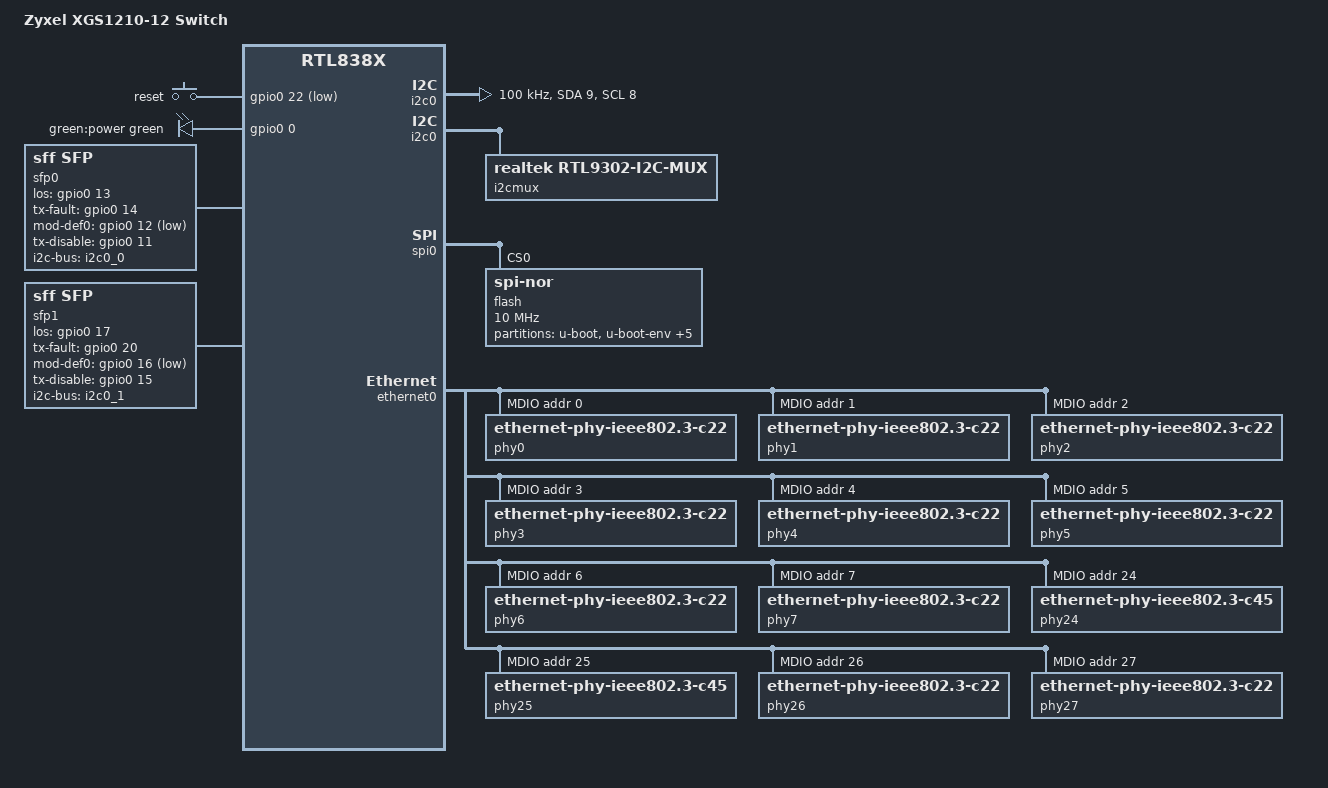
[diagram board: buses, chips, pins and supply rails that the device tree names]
// SPDX-License-Identifier: GPL-2.0-or-later
/dts-v1/;

#include "rtl930x.dtsi"

#include <dt-bindings/input/input.h>
#include <dt-bindings/gpio/gpio.h>
#include <dt-bindings/leds/common.h>
#include <dt-bindings/thermal/thermal.h>

/ {
	compatible = "zyxel,xgs1210-12", "realtek,rtl838x-soc";
	model = "Zyxel XGS1210-12 Switch";

	aliases {
		led-boot = &led_pwr_sys;
		led-failsafe = &led_pwr_sys;
		led-running = &led_pwr_sys;
		led-upgrade = &led_pwr_sys;
	};

	keys {
		compatible = "gpio-keys";

		mode {
			label = "reset";
			gpios = <&gpio0 22 GPIO_ACTIVE_LOW>;
			linux,code = <KEY_RESTART>;
		};
	};

	/* i2c of the SFP cage: port 11 & port 12 */
	i2c0: i2c-rtl9300@1b00036c {
		compatible = "realtek,rtl9300-i2c";
		reg = <0x1b00036c 0x3c>;
		#address-cells = <1>;
		#size-cells = <0>;
		sda-pin = <9>;
		scl-pin = <8>;
		clock-frequency = <100000>;
	};

	i2cmux {
		compatible = "realtek,rtl9302-i2c-mux", "realtek,i2c-mux-rtl9300";
		#address-cells = <1>;
		#size-cells = <0>;
		i2c-parent = <&i2c0>;

		/* i2c of the left SFP+ cage as seen from the front: port 11 */
		i2c0_0: i2c@0 {
			reg = <0>;
			#address-cells = <1>;
			#size-cells = <0>;
			sda-pin = <9>;
			scl-pin = <8>;
		};

		/* i2c of the right SFP+ cage as seen from the front: port 12 */
		i2c0_1: i2c@1 {
			reg = <1>;
			#address-cells = <1>;
			#size-cells = <0>;
			sda-pin = <10>;
			scl-pin = <8>;
		};
	};

	leds {
		compatible = "gpio-leds";

		pinctrl-names = "default";
		pinctrl-0 = <&pinmux_disable_sys_led>;

		led_pwr_sys: led-0 {
			label = "green:power";
			color = <LED_COLOR_ID_GREEN>;
			function = LED_FUNCTION_POWER;
			gpios = <&gpio0 0 GPIO_ACTIVE_HIGH>;
		};
	};

	sfp0: sfp-p11 {
		compatible = "sff,sfp";
		i2c-bus = <&i2c0_0>;
		los-gpio = <&gpio0 13 GPIO_ACTIVE_HIGH>;
		tx-fault-gpio = <&gpio0 14 GPIO_ACTIVE_HIGH>;
		mod-def0-gpio = <&gpio0 12 GPIO_ACTIVE_LOW>;
		tx-disable-gpio = <&gpio0 11 GPIO_ACTIVE_HIGH>;
	};

	sfp1: sfp-p12 {
		compatible = "sff,sfp";
		i2c-bus = <&i2c0_1>;
		los-gpio = <&gpio0 17 GPIO_ACTIVE_HIGH>;
		tx-fault-gpio = <&gpio0 20 GPIO_ACTIVE_HIGH>;
		mod-def0-gpio = <&gpio0 16 GPIO_ACTIVE_LOW>;
		tx-disable-gpio = <&gpio0 15 GPIO_ACTIVE_HIGH>;
	};

	led_set: led_set {
		compatible = "realtek,rtl9300-leds";
		active-low;

		// LED set 0:
		// Amber: 100M/10M
		// Yellow: 1G
		led_set0 = <0x0a20 0x0b80>;

		// LED set 1:
		// Blue: 2.5G
		// Green: 2.5G
		// Yellow: 1G
		// Amber: 100M/10M
		// (Blue + Green = Cyan)
		led_set1 = <0x0b80 0x0a20 0x0a08 0x0a08>;

		// LED set 2:
		// Blue: 10G/5G/2.5G
		// Yellow: 5G/2.5G/1G
		// (Blue + Yellow = Purple)
		led_set2 = <0x0a2a 0x0a0b>;
	};
};

&spi0 {
	status = "okay";
	flash@0 {
		compatible = "jedec,spi-nor";
		reg = <0>;
		spi-max-frequency = <10000000>;

		partitions {
			compatible = "fixed-partitions";
			#address-cells = <1>;
			#size-cells = <1>;

			partition@0 {
				label = "u-boot";
				reg = <0x0 0xe0000>;
				read-only;
			};
			partition@e0000 {
				label = "u-boot-env";
				reg = <0xe0000 0x10000>;
			};
			partition@f0000 {
				label = "u-boot-env2";
				reg = <0xf0000 0x10000>;
				read-only;
			};
			partition@100000 {
				label = "jffs2-cfg";
				reg = <0x100000 0x100000>;
			};
			partition@200000 {
				label = "jffs2-log";
				reg = <0x200000 0x100000>;
			};
			partition@b300000 {
				label = "firmware";
				reg = <0x300000 0xce0000>;
				compatible = "openwrt,uimage", "denx,uimage";
				openwrt,ih-magic = <0x93001210>;
			};
			partition@fe0000 {
				label = "log";
				reg = <0xfe0000 0x20000>;
				read-only;
			};
		};
	};
};

&ethernet0 {
	mdio: mdio-bus {
		compatible = "realtek,rtl838x-mdio";
		regmap = <&ethernet0>;
		#address-cells = <1>;
		#size-cells = <0>;

		/* External RTL8218D PHY */
		phy0: ethernet-phy@0 {
			reg = <0>;
			compatible = "ethernet-phy-ieee802.3-c22";
			rtl9300,smi-address = <0 0>;
			sds = < 2 >;
			// Disabled because we do not know how to bring up again
			// reset-gpios = <&gpio0 21 GPIO_ACTIVE_LOW>;
		};
		phy1: ethernet-phy@1 {
			reg = <1>;
			compatible = "ethernet-phy-ieee802.3-c22";
			rtl9300,smi-address = <0 1>;
		};
		phy2: ethernet-phy@2 {
			reg = <2>;
			compatible = "ethernet-phy-ieee802.3-c22";
			rtl9300,smi-address = <0 2>;
		};
		phy3: ethernet-phy@3 {
			reg = <3>;
			compatible = "ethernet-phy-ieee802.3-c22";
			rtl9300,smi-address = <0 3>;
		};
		phy4: ethernet-phy@4 {
			reg = <4>;
			compatible = "ethernet-phy-ieee802.3-c22";
			rtl9300,smi-address = <0 4>;
		};
		phy5: ethernet-phy@5 {
			reg = <5>;
			compatible = "ethernet-phy-ieee802.3-c22";
			rtl9300,smi-address = <0 5>;
		};
		phy6: ethernet-phy@6 {
			reg = <6>;
			compatible = "ethernet-phy-ieee802.3-c22";
			rtl9300,smi-address = <0 6>;
		};
		phy7: ethernet-phy@7 {
			reg = <7>;
			compatible = "ethernet-phy-ieee802.3-c22";
			rtl9300,smi-address = <0 7>;
		};

		/* External RTL8226 PHYs */
		phy24: ethernet-phy@24 {
			reg = <24>;
			compatible = "ethernet-phy-ieee802.3-c45";
			rtl9300,smi-address = <1 8>;
			sds = < 6 >;
			// Disabled because we do not know how to bring up again
			// reset-gpios = <&gpio0 21 GPIO_ACTIVE_LOW>;
		};

		phy25: ethernet-phy@25 {
			reg = <25>;
			compatible = "ethernet-phy-ieee802.3-c45";
			rtl9300,smi-address = <2 9>;
			sds = < 7 >;
			// Disabled because we do not know how to bring up again
			// reset-gpios = <&gpio0 21 GPIO_ACTIVE_LOW>;
		};

		/* SFP0 Ports */
		phy26: ethernet-phy@26 {
			compatible = "ethernet-phy-ieee802.3-c22";
			phy-is-integrated;
			reg = <26>;
			sds = < 8 >;
		};

		/* SFP1 Ports */
		phy27: ethernet-phy@27 {
			compatible = "ethernet-phy-ieee802.3-c22";
			phy-is-integrated;
			reg = <27>;
			sds = < 9 >;
		};

	};
};

&switch0 {
	ports {
		#address-cells = <1>;
		#size-cells = <0>;

		port@0 {
			reg = <0>;
			label = "lan1";
			phy-handle = <&phy0>;
			phy-mode = "usxgmii";
			led-set = <0>;
		};
		port@1 {
			reg = <1>;
			label = "lan2";
			phy-handle = <&phy1>;
			phy-mode = "usxgmii";
			led-set = <0>;
		};
		port@2 {
			reg = <2>;
			label = "lan3";
			phy-handle = <&phy2>;
			phy-mode = "usxgmii";
			led-set = <0>;
		};
		port@3 {
			reg = <3>;
			label = "lan4";
			phy-handle = <&phy3>;
			phy-mode = "usxgmii";
			led-set = <0>;
		};
		port@4 {
			reg = <4>;
			label = "lan5";
			phy-handle = <&phy4>;
			phy-mode = "usxgmii";
			led-set = <0>;
		};
		port@5 {
			reg = <5>;
			label = "lan6";
			phy-handle = <&phy5>;
			phy-mode = "usxgmii";
			led-set = <0>;
		};
		port@6 {
			reg = <6>;
			label = "lan7";
			phy-handle = <&phy6>;
			phy-mode = "usxgmii";
			led-set = <0>;
		};
		port@7 {
			reg = <7>;
			label = "lan8";
			phy-handle = <&phy7>;
			phy-mode = "usxgmii";
			led-set = <0>;
		};

		port@24 {
			reg = <24>;
			label = "lan9";
			phy-mode = "hsgmii";
			phy-handle = <&phy24>;
			led-set = <1>;
		};
		port@25 {
			reg = <25>;
			label = "lan10";
			phy-mode = "hsgmii";
			phy-handle = <&phy25>;
			led-set = <1>;
		};

		port@26 {
			reg = <26>;
			label = "lan11";
			phy-mode = "1000base-x";	//"10gbase-r";
			pseudo-phy-handle = <&phy26>;
			sfp = <&sfp0>;
			led-set = <2>;
			managed = "in-band-status";
		};

		port@27 {
			reg = <27>;
			label = "lan12";
			phy-mode = "1000base-x";
			pseudo-phy-handle = <&phy27>;
			sfp = <&sfp1>;
			led-set = <2>;
			managed = "in-band-status";
		};

		port@28 {
			ethernet = <&ethernet0>;
			reg = <28>;
			phy-mode = "internal";
			fixed-link {
				speed = <10000>;
				full-duplex;
			};
		};
	};
};
